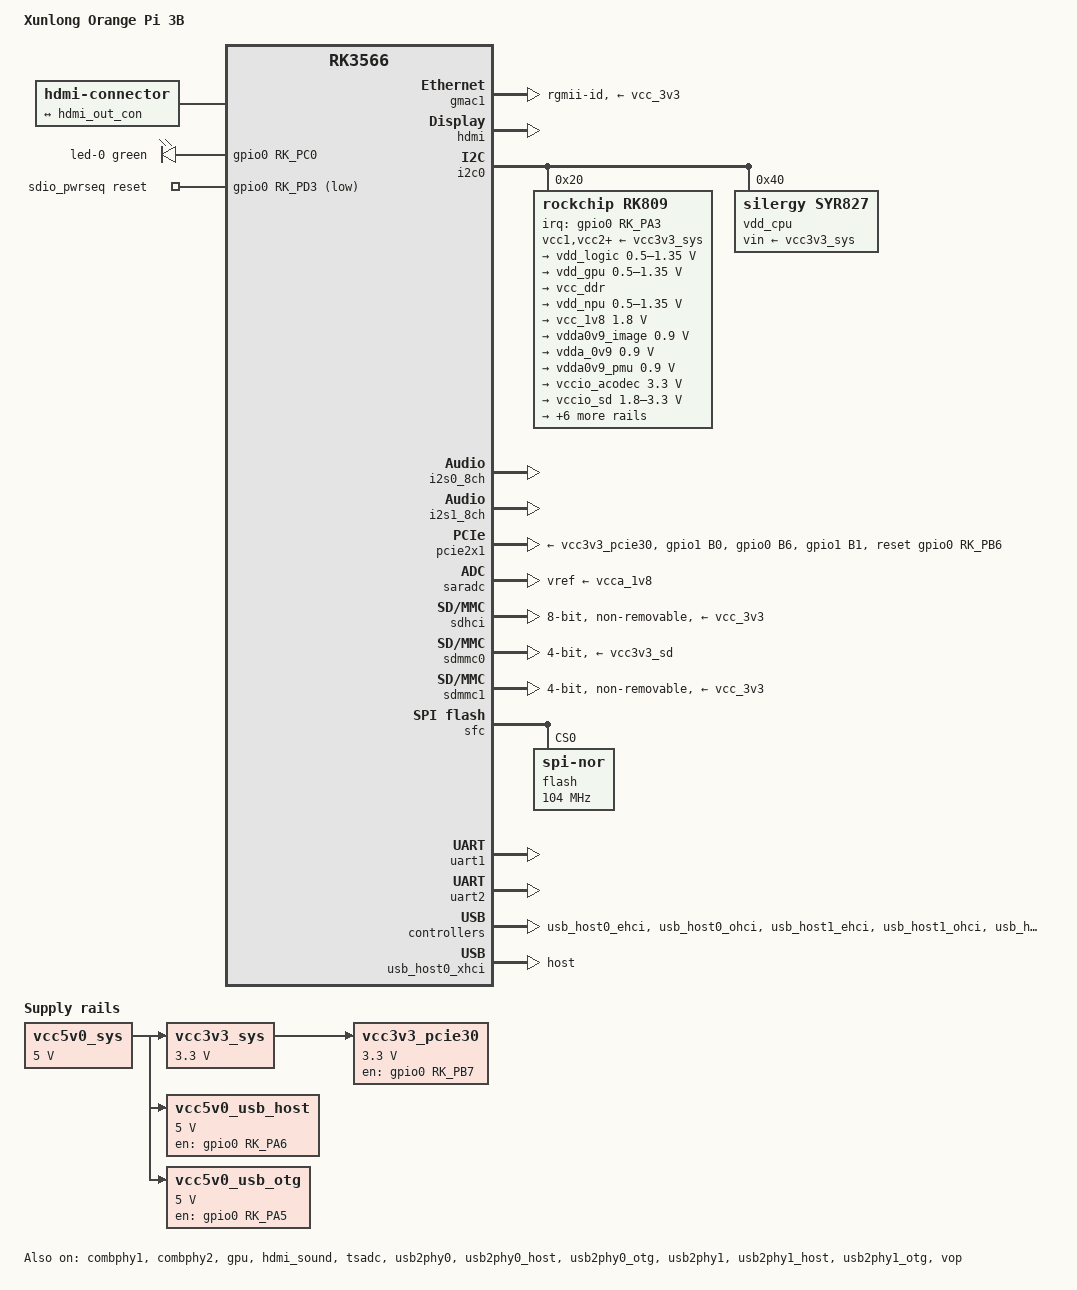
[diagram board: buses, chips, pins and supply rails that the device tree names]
// SPDX-License-Identifier: (GPL-2.0+ OR MIT)

#include <dt-bindings/gpio/gpio.h>
#include <dt-bindings/leds/common.h>
#include <dt-bindings/pinctrl/rockchip.h>
#include <dt-bindings/soc/rockchip,vop2.h>
#include "rk3566.dtsi"

/ {
	model = "Xunlong Orange Pi 3B";
	compatible = "xunlong,orangepi-3b", "rockchip,rk3566";

	aliases {
		ethernet0 = &gmac1;
		mmc0 = &sdhci;
		mmc1 = &sdmmc0;
		mmc2 = &sdmmc1;
	};

	chosen {
		stdout-path = "serial2:1500000n8";
	};

	hdmi-con {
		compatible = "hdmi-connector";
		type = "a";

		port {
			hdmi_con_in: endpoint {
				remote-endpoint = <&hdmi_out_con>;
			};
		};
	};

	leds {
		compatible = "gpio-leds";
		pinctrl-names = "default";
		pinctrl-0 = <&work_led>;

		led-0 {
			color = <LED_COLOR_ID_GREEN>;
			default-state = "on";
			function = LED_FUNCTION_HEARTBEAT;
			gpios = <&gpio0 RK_PC0 GPIO_ACTIVE_HIGH>;
			linux,default-trigger = "heartbeat";
		};
	};

	vcc3v3_pcie30: regulator-3v3-vcc-pcie30 {
		compatible = "regulator-fixed";
		enable-active-high;
		gpios = <&gpio0 RK_PB7 GPIO_ACTIVE_HIGH>;
		pinctrl-names = "default";
		pinctrl-0 = <&pcie20_pwren>;
		regulator-name = "vcc3v3_pcie30";
		regulator-min-microvolt = <3300000>;
		regulator-max-microvolt = <3300000>;
		vin-supply = <&vcc3v3_sys>;
	};

	vcc3v3_sys: regulator-3v3-vcc-sys {
		compatible = "regulator-fixed";
		regulator-name = "vcc3v3_sys";
		regulator-always-on;
		regulator-boot-on;
		regulator-min-microvolt = <3300000>;
		regulator-max-microvolt = <3300000>;
		vin-supply = <&vcc5v0_sys>;
	};

	vcc5v0_sys: regulator-5v0-vcc-sys {
		compatible = "regulator-fixed";
		regulator-name = "vcc5v0_sys";
		regulator-always-on;
		regulator-boot-on;
		regulator-min-microvolt = <5000000>;
		regulator-max-microvolt = <5000000>;
	};

	vcc5v0_usb_host: regulator-5v0-vcc-usb-host {
		compatible = "regulator-fixed";
		enable-active-high;
		gpios = <&gpio0 RK_PA6 GPIO_ACTIVE_HIGH>;
		pinctrl-names = "default";
		pinctrl-0 = <&usb_host_pwren_h>;
		regulator-name = "vcc5v0_usb_host";
		regulator-min-microvolt = <5000000>;
		regulator-max-microvolt = <5000000>;
		vin-supply = <&vcc5v0_sys>;
	};

	vcc5v0_usb_otg: regulator-5v0-vcc-usb-otg {
		compatible = "regulator-fixed";
		enable-active-high;
		gpios = <&gpio0 RK_PA5 GPIO_ACTIVE_HIGH>;
		pinctrl-names = "default";
		pinctrl-0 = <&usb_otg_pwren_h>;
		regulator-name = "vcc5v0_usb_otg";
		regulator-min-microvolt = <5000000>;
		regulator-max-microvolt = <5000000>;
		vin-supply = <&vcc5v0_sys>;
	};

	sdio_pwrseq: sdio-pwrseq {
		compatible = "mmc-pwrseq-simple";
		clocks = <&rk809 1>;
		clock-names = "ext_clock";
		pinctrl-names = "default";
		pinctrl-0 = <&wifi_reg_on_h>;
		post-power-on-delay-ms = <200>;
		power-off-delay-us = <5000000>;
		reset-gpios = <&gpio0 RK_PD3 GPIO_ACTIVE_LOW>;
	};

	sound {
		compatible = "simple-audio-card";
		simple-audio-card,format = "i2s";
		simple-audio-card,name = "Analog RK809";
		simple-audio-card,mclk-fs = <256>;

		simple-audio-card,cpu {
			sound-dai = <&i2s1_8ch>;
		};

		simple-audio-card,codec {
			sound-dai = <&rk809>;
		};
	};
};

&combphy1 {
	status = "okay";
};

&combphy2 {
	status = "okay";
};

&cpu0 {
	cpu-supply = <&vdd_cpu>;
};

&cpu1 {
	cpu-supply = <&vdd_cpu>;
};

&cpu2 {
	cpu-supply = <&vdd_cpu>;
};

&cpu3 {
	cpu-supply = <&vdd_cpu>;
};

&gmac1 {
	assigned-clocks = <&cru SCLK_GMAC1_RX_TX>, <&cru SCLK_GMAC1>;
	assigned-clock-parents = <&cru SCLK_GMAC1_RGMII_SPEED>, <&cru CLK_MAC1_2TOP>;
	clock_in_out = "input";
	phy-mode = "rgmii-id";
	phy-supply = <&vcc_3v3>;
	pinctrl-names = "default";
	pinctrl-0 = <&gmac1m0_miim
		     &gmac1m0_tx_bus2
		     &gmac1m0_rx_bus2
		     &gmac1m0_rgmii_clk
		     &gmac1m0_rgmii_bus
		     &gmac1m0_clkinout>;
};

&gpu {
	mali-supply = <&vdd_gpu>;
	status = "okay";
};

&hdmi {
	avdd-0v9-supply = <&vdda0v9_image>;
	avdd-1v8-supply = <&vcca1v8_image>;
	status = "okay";
};

&hdmi_in {
	hdmi_in_vp0: endpoint {
		remote-endpoint = <&vp0_out_hdmi>;
	};
};

&hdmi_out {
	hdmi_out_con: endpoint {
		remote-endpoint = <&hdmi_con_in>;
	};
};

&hdmi_sound {
	status = "okay";
};

&i2c0 {
	status = "okay";

	rk809: pmic@20 {
		compatible = "rockchip,rk809";
		reg = <0x20>;
		assigned-clocks = <&cru I2S1_MCLKOUT_TX>;
		assigned-clock-parents = <&cru CLK_I2S1_8CH_TX>;
		#clock-cells = <1>;
		clocks = <&cru I2S1_MCLKOUT_TX>;
		clock-names = "mclk";
		clock-output-names = "rk809-clkout1", "rk809-clkout2";
		interrupt-parent = <&gpio0>;
		interrupts = <RK_PA3 IRQ_TYPE_LEVEL_LOW>;
		pinctrl-names = "default";
		pinctrl-0 = <&pmic_int_l>, <&i2s1m0_mclk>;
		#sound-dai-cells = <0>;
		system-power-controller;
		wakeup-source;

		vcc1-supply = <&vcc3v3_sys>;
		vcc2-supply = <&vcc3v3_sys>;
		vcc3-supply = <&vcc3v3_sys>;
		vcc4-supply = <&vcc3v3_sys>;
		vcc5-supply = <&vcc3v3_sys>;
		vcc6-supply = <&vcc3v3_sys>;
		vcc7-supply = <&vcc3v3_sys>;
		vcc8-supply = <&vcc3v3_sys>;
		vcc9-supply = <&vcc3v3_sys>;

		regulators {
			vdd_logic: DCDC_REG1 {
				regulator-name = "vdd_logic";
				regulator-always-on;
				regulator-boot-on;
				regulator-initial-mode = <0x2>;
				regulator-min-microvolt = <500000>;
				regulator-max-microvolt = <1350000>;
				regulator-ramp-delay = <6001>;

				regulator-state-mem {
					regulator-off-in-suspend;
				};
			};

			vdd_gpu: DCDC_REG2 {
				regulator-name = "vdd_gpu";
				regulator-always-on;
				regulator-boot-on;
				regulator-initial-mode = <0x2>;
				regulator-min-microvolt = <500000>;
				regulator-max-microvolt = <1350000>;
				regulator-ramp-delay = <6001>;

				regulator-state-mem {
					regulator-off-in-suspend;
				};
			};

			vcc_ddr: DCDC_REG3 {
				regulator-name = "vcc_ddr";
				regulator-always-on;
				regulator-boot-on;
				regulator-initial-mode = <0x2>;

				regulator-state-mem {
					regulator-on-in-suspend;
				};
			};

			vdd_npu: DCDC_REG4 {
				regulator-name = "vdd_npu";
				regulator-initial-mode = <0x2>;
				regulator-min-microvolt = <500000>;
				regulator-max-microvolt = <1350000>;
				regulator-ramp-delay = <6001>;

				regulator-state-mem {
					regulator-off-in-suspend;
				};
			};

			vcc_1v8: DCDC_REG5 {
				regulator-name = "vcc_1v8";
				regulator-always-on;
				regulator-boot-on;
				regulator-min-microvolt = <1800000>;
				regulator-max-microvolt = <1800000>;

				regulator-state-mem {
					regulator-off-in-suspend;
				};
			};

			vdda0v9_image: LDO_REG1 {
				regulator-name = "vdda0v9_image";
				regulator-min-microvolt = <900000>;
				regulator-max-microvolt = <900000>;

				regulator-state-mem {
					regulator-off-in-suspend;
				};
			};

			vdda_0v9: LDO_REG2 {
				regulator-name = "vdda_0v9";
				regulator-always-on;
				regulator-boot-on;
				regulator-min-microvolt = <900000>;
				regulator-max-microvolt = <900000>;

				regulator-state-mem {
					regulator-off-in-suspend;
				};
			};

			vdda0v9_pmu: LDO_REG3 {
				regulator-name = "vdda0v9_pmu";
				regulator-always-on;
				regulator-boot-on;
				regulator-min-microvolt = <900000>;
				regulator-max-microvolt = <900000>;

				regulator-state-mem {
					regulator-on-in-suspend;
					regulator-suspend-microvolt = <900000>;
				};
			};

			vccio_acodec: LDO_REG4 {
				regulator-name = "vccio_acodec";
				regulator-always-on;
				regulator-boot-on;
				regulator-min-microvolt = <3300000>;
				regulator-max-microvolt = <3300000>;

				regulator-state-mem {
					regulator-off-in-suspend;
				};
			};

			vccio_sd: LDO_REG5 {
				regulator-name = "vccio_sd";
				regulator-always-on;
				regulator-boot-on;
				regulator-min-microvolt = <1800000>;
				regulator-max-microvolt = <3300000>;

				regulator-state-mem {
					regulator-off-in-suspend;
				};
			};

			vcc3v3_pmu: LDO_REG6 {
				regulator-name = "vcc3v3_pmu";
				regulator-always-on;
				regulator-boot-on;
				regulator-min-microvolt = <3300000>;
				regulator-max-microvolt = <3300000>;

				regulator-state-mem {
					regulator-on-in-suspend;
					regulator-suspend-microvolt = <3300000>;
				};
			};

			vcca_1v8: LDO_REG7 {
				regulator-name = "vcca_1v8";
				regulator-always-on;
				regulator-boot-on;
				regulator-min-microvolt = <1800000>;
				regulator-max-microvolt = <1800000>;

				regulator-state-mem {
					regulator-off-in-suspend;
				};
			};

			vcca1v8_pmu: LDO_REG8 {
				regulator-name = "vcca1v8_pmu";
				regulator-always-on;
				regulator-boot-on;
				regulator-min-microvolt = <1800000>;
				regulator-max-microvolt = <1800000>;

				regulator-state-mem {
					regulator-on-in-suspend;
					regulator-suspend-microvolt = <1800000>;
				};
			};

			vcca1v8_image: LDO_REG9 {
				regulator-name = "vcca1v8_image";
				regulator-min-microvolt = <1800000>;
				regulator-max-microvolt = <1800000>;

				regulator-state-mem {
					regulator-off-in-suspend;
				};
			};

			vcc_3v3: SWITCH_REG1 {
				regulator-name = "vcc_3v3";
				regulator-always-on;
				regulator-boot-on;

				regulator-state-mem {
					regulator-off-in-suspend;
				};
			};

			vcc3v3_sd: SWITCH_REG2 {
				regulator-name = "vcc3v3_sd";
				regulator-always-on;
				regulator-boot-on;

				regulator-state-mem {
					regulator-off-in-suspend;
				};
			};
		};
	};

	vdd_cpu: regulator@40 {
		compatible = "silergy,syr827";
		reg = <0x40>;
		fcs,suspend-voltage-selector = <1>;
		regulator-name = "vdd_cpu";
		regulator-always-on;
		regulator-boot-on;
		regulator-min-microvolt = <830000>;
		regulator-max-microvolt = <1200000>;
		regulator-ramp-delay = <2300>;
		vin-supply = <&vcc3v3_sys>;

		regulator-state-mem {
			regulator-off-in-suspend;
		};
	};
};

&i2s0_8ch {
	status = "okay";
};

&i2s1_8ch {
	pinctrl-names = "default";
	pinctrl-0 = <&i2s1m0_sclktx
		     &i2s1m0_lrcktx
		     &i2s1m0_sdi0
		     &i2s1m0_sdo0>;
	rockchip,trcm-sync-tx-only;
	status = "okay";
};

&pcie2x1 {
	pinctrl-names = "default";
	pinctrl-0 = <&pcie20_pins>;
	reset-gpios = <&gpio0 RK_PB6 GPIO_ACTIVE_HIGH>;
	vpcie3v3-supply = <&vcc3v3_pcie30>;
	status = "okay";
};

&pinctrl {
	bluetooth {
		bt_reg_on_h: bt-reg-on-h {
			rockchip,pins = <2 RK_PB7 RK_FUNC_GPIO &pcfg_pull_none>;
		};

		bt_wake_host_h: bt-wake-host-h {
			rockchip,pins = <2 RK_PC0 RK_FUNC_GPIO &pcfg_pull_down>;
		};

		host_wake_bt_h: host-wake-bt-h {
			rockchip,pins = <2 RK_PC1 RK_FUNC_GPIO &pcfg_pull_none>;
		};
	};

	leds {
		work_led: work-led {
			rockchip,pins = <0 RK_PC0 RK_FUNC_GPIO &pcfg_pull_none>;
		};
	};

	pcie {
		pcie20_pins: pcie20-pins {
			rockchip,pins =
				<1 RK_PB0 4 &pcfg_pull_none>,
				<0 RK_PB6 RK_FUNC_GPIO &pcfg_pull_none>,
				<1 RK_PB1 4 &pcfg_pull_none>;
		};

		pcie20_pwren: pcie20-pwren {
			rockchip,pins = <0 RK_PB7 RK_FUNC_GPIO &pcfg_pull_none>;
		};
	};

	pmic {
		pmic_int_l: pmic-int-l {
			rockchip,pins = <0 RK_PA3 RK_FUNC_GPIO &pcfg_pull_up>;
		};
	};

	usb {
		usb_host_pwren_h: usb-host-pwren-h {
			rockchip,pins = <0 RK_PA6 RK_FUNC_GPIO &pcfg_pull_none>;
		};

		usb_otg_pwren_h: usb-otg-pwren-h {
			rockchip,pins = <0 RK_PA5 RK_FUNC_GPIO &pcfg_pull_none>;
		};
	};

	wifi {
		wifi_reg_on_h: wifi-reg-on-h {
			rockchip,pins = <0 RK_PD3 RK_FUNC_GPIO &pcfg_pull_none>;
		};

		wifi_wake_host_h: wifi-wake-host-h {
			rockchip,pins = <0 RK_PD6 RK_FUNC_GPIO &pcfg_pull_down>;
		};
	};
};

&pmu_io_domains {
	pmuio1-supply = <&vcc3v3_pmu>;
	pmuio2-supply = <&vcc3v3_pmu>;
	vccio1-supply = <&vccio_acodec>;
	vccio2-supply = <&vcc_1v8>;
	vccio3-supply = <&vccio_sd>;
	vccio4-supply = <&vcc_1v8>;
	vccio6-supply = <&vcc_3v3>;
	vccio7-supply = <&vcc_3v3>;
	status = "okay";
};

&saradc {
	vref-supply = <&vcca_1v8>;
	status = "okay";
};

&sdhci {
	bus-width = <8>;
	cap-mmc-highspeed;
	max-frequency = <200000000>;
	mmc-hs200-1_8v;
	non-removable;
	pinctrl-names = "default";
	pinctrl-0 = <&emmc_bus8 &emmc_clk &emmc_cmd &emmc_datastrobe>;
	vmmc-supply = <&vcc_3v3>;
	vqmmc-supply = <&vcc_1v8>;
	status = "okay";
};

&sdmmc0 {
	bus-width = <4>;
	cap-sd-highspeed;
	disable-wp;
	pinctrl-names = "default";
	pinctrl-0 = <&sdmmc0_bus4 &sdmmc0_clk &sdmmc0_cmd &sdmmc0_det>;
	vmmc-supply = <&vcc3v3_sd>;
	vqmmc-supply = <&vccio_sd>;
	status = "okay";
};

&sdmmc1 {
	bus-width = <4>;
	cap-sd-highspeed;
	cap-sdio-irq;
	keep-power-in-suspend;
	mmc-pwrseq = <&sdio_pwrseq>;
	no-mmc;
	no-sd;
	non-removable;
	pinctrl-names = "default";
	pinctrl-0 = <&sdmmc1_bus4 &sdmmc1_clk &sdmmc1_cmd>;
	sd-uhs-sdr104;
	vmmc-supply = <&vcc_3v3>;
	vqmmc-supply = <&vcc_1v8>;
	status = "okay";
};

&sfc {
	#address-cells = <1>;
	#size-cells = <0>;
	status = "okay";

	flash@0 {
		compatible = "jedec,spi-nor";
		reg = <0>;
		spi-max-frequency = <104000000>;
		spi-rx-bus-width = <4>;
		spi-tx-bus-width = <1>;
	};
};

&tsadc {
	rockchip,hw-tshut-mode = <1>;
	rockchip,hw-tshut-polarity = <0>;
	status = "okay";
};

&uart1 {
	pinctrl-names = "default";
	pinctrl-0 = <&uart1m0_xfer &uart1m0_ctsn &uart1m0_rtsn>;
	uart-has-rtscts;
	status = "okay";
};

&uart2 {
	status = "okay";
};

&usb_host0_ehci {
	status = "okay";
};

&usb_host0_ohci {
	status = "okay";
};

&usb_host0_xhci {
	dr_mode = "host";
	status = "okay";
};

&usb_host1_ehci {
	status = "okay";
};

&usb_host1_ohci {
	status = "okay";
};

&usb_host1_xhci {
	status = "okay";
};

&usb2phy0 {
	status = "okay";
};

&usb2phy0_host {
	phy-supply = <&vcc5v0_usb_host>;
	status = "okay";
};

&usb2phy0_otg {
	phy-supply = <&vcc5v0_usb_otg>;
	status = "okay";
};

&usb2phy1 {
	status = "okay";
};

&usb2phy1_host {
	phy-supply = <&vcc5v0_usb_host>;
	status = "okay";
};

&usb2phy1_otg {
	phy-supply = <&vcc5v0_usb_host>;
	status = "okay";
};

&vop {
	assigned-clocks = <&cru DCLK_VOP0>, <&cru DCLK_VOP1>;
	assigned-clock-parents = <&pmucru PLL_HPLL>, <&cru PLL_VPLL>;
	status = "okay";
};

&vop_mmu {
	status = "okay";
};

&vp0 {
	vp0_out_hdmi: endpoint@ROCKCHIP_VOP2_EP_HDMI0 {
		reg = <ROCKCHIP_VOP2_EP_HDMI0>;
		remote-endpoint = <&hdmi_in_vp0>;
	};
};
